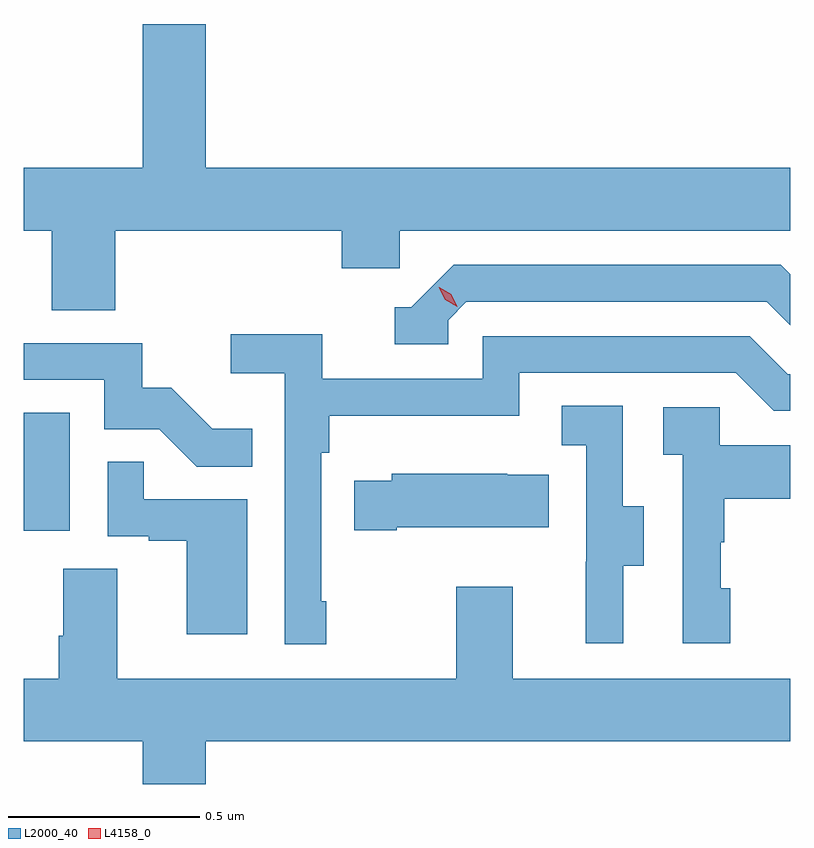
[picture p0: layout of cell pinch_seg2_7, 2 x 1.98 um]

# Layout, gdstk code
import gdstk
lib = gdstk.Library(unit=1e-6, precision=1e-09)
def R(c, l, rs):  # rectangles x0, y0, x1, y1
    for r in rs: c.add(gdstk.rectangle(r[:2], r[2:], *l))
def P(c, l, *ps):  # polygons
    for p in ps: c.add(gdstk.Polygon(p, *l))
L2000_40 = (2000, 40)
L4158_0 = (4158, 0)

pinch_seg2_7 = lib.new_cell('pinch_seg2_7')
R(pinch_seg2_7, L2000_40, [(1123.737,660.174,1123.858,660.481)])
P(pinch_seg2_7, L2000_40, [(1123.737,660.956),(1123.811,660.956),(1123.811,660.748),(1123.976,660.748),(1123.976,660.956),(1124.567,660.956),(1124.567,660.858),(1124.718,660.858),(1124.718,660.956),(1125.737,660.956),(1125.737,661.12),(1124.212,661.12),(1124.212,661.495),(1124.048,661.495),(1124.048,661.12),(1123.737,661.12)],
  [(1124.844,660.723),(1124.892,660.771),(1125.675,660.771),(1125.737,660.709),(1125.737,660.842),(1125.712,660.867),(1124.859,660.867),(1124.748,660.756),(1124.705,660.756),(1124.705,660.66),(1124.844,660.66)],
  [(1124.527,659.989),(1124.514,659.989),(1124.514,660.377),(1124.534,660.377),(1124.534,660.473),(1125.03,660.473),(1125.03,660.585),(1125.594,660.585),(1125.693,660.486),(1125.737,660.486),(1125.737,660.582),(1125.73,660.582),(1125.631,660.681),(1124.934,660.681),(1124.934,660.57),(1124.516,660.57),(1124.516,660.686),(1124.277,660.686),(1124.277,660.584),(1124.418,660.584),(1124.418,659.877),(1124.527,659.877)],
  [(1124.333,660.439),(1124.229,660.439),(1124.122,660.546),(1124.046,660.546),(1124.046,660.663),(1123.737,660.663),(1123.737,660.567),(1123.947,660.567),(1123.947,660.438),(1124.091,660.438),(1124.189,660.34),(1124.333,660.34)],
  [(1125.301,660.082),(1125.355,660.082),(1125.355,660.237),(1125.3,660.237),(1125.3,660.5),(1125.141,660.5),(1125.141,660.397),(1125.204,660.397),(1125.204,660.093),(1125.203,660.093),(1125.203,659.88),(1125.301,659.88)],
  [(1125.58,660.024),(1125.555,660.024),(1125.555,660.143),(1125.565,660.143),(1125.565,660.257),(1125.737,660.257),(1125.737,660.397),(1125.552,660.397),(1125.552,660.495),(1125.405,660.495),(1125.405,660.371),(1125.456,660.371),(1125.456,659.88),(1125.58,659.88)],
  [(1124.32,660.255),(1124.051,660.255),(1124.051,660.353),(1123.956,660.353),(1123.956,660.159),(1124.063,660.159),(1124.063,660.147),(1124.162,660.147),(1124.162,659.904),(1124.32,659.904)],
  [(1124.71,660.182),(1125.107,660.182),(1125.107,660.319),(1124.999,660.319),(1124.999,660.322),(1124.697,660.322),(1124.697,660.304),(1124.599,660.304),(1124.599,660.175),(1124.71,660.175)],
  [(1124.212,659.624),(1125.737,659.624),(1125.737,659.788),(1125.013,659.788),(1125.013,660.028),(1124.866,660.028),(1124.866,659.788),(1123.981,659.788),(1123.981,660.074),(1123.841,660.074),(1123.841,659.9),(1123.829,659.9),(1123.829,659.788),(1123.737,659.788),(1123.737,659.624),(1124.048,659.624),(1124.048,659.513),(1124.212,659.513)])
P(pinch_seg2_7, L4158_0, [(1124.868,660.757),(1124.837,660.776),(1124.82,660.808),(1124.82,660.809),(1124.821,660.809),(1124.852,660.79),(1124.868,660.758),(1124.868,660.757)])

lib.write_gds('pinch_seg2_7.gds')
